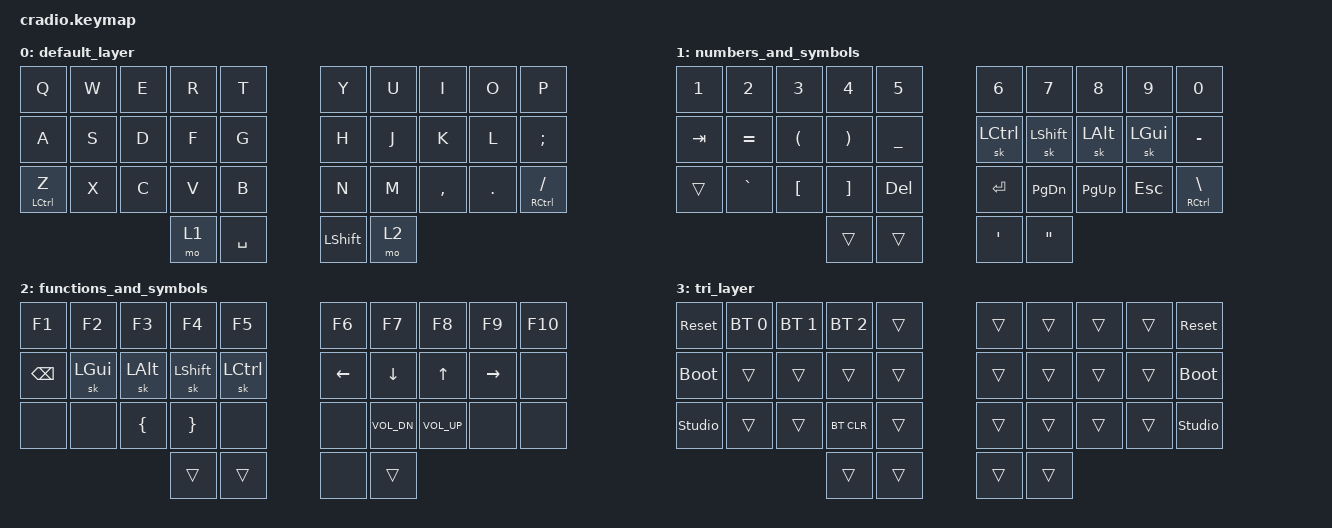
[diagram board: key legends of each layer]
// Copyright (c) 2022 The ZMK Contributors
// SPDX-License-Identifier: MIT

#include <behaviors.dtsi>
#include <dt-bindings/zmk/keys.h>
#include <dt-bindings/zmk/bt.h>

&sk {
    release-after-ms = <60000>;
    quick-release;
};

/ {
    behaviors {
        ht: hold_tap {
            compatible = "zmk,behavior-hold-tap";
            #binding-cells = <2>;
            flavor = "tap-preferred";
            tapping-term-ms = <220>;
            quick-tap-ms = <150>;
            require-prior-idle-ms = <100>;
            bindings = <&kp>, <&kp>;
        };
    };

    conditional_layers {
        compatible = "zmk,conditional-layers";
        tri_layer {
            if-layers = <1 2>;
            then-layer = <3>;
        };
    };

    keymap {
        compatible = "zmk,keymap";
        default_layer {
            bindings = <
        //╭──────────┬──────────┬──────────┬──────────┬──────────╮   ╭──────────┬──────────┬──────────┬──────────┬──────────╮
        //│  Q       │  W       │  E       │  R       │  T       │   │  Y       │  U       │  I       │  O       │  P       │
            &kp Q      &kp W      &kp E      &kp R      &kp T          &kp Y      &kp U      &kp I      &kp O      &kp P
        //├──────────┼──────────┼──────────┼──────────┼──────────┤   ├──────────┼──────────┼──────────┼──────────┼──────────┤
        //│  A       │  S       │  D       │  F       │  G       │   │  H       │  J       │  K       │  L       │ ;        │
            &kp A      &kp S      &kp D      &kp F      &kp G          &kp H      &kp J      &kp K      &kp L      &kp SEMI
        //├──────────┼──────────┼──────────┼──────────┼──────────┤   ├──────────┼──────────┼──────────┼──────────┼──────────┤
        //│  Z       │  X       │  C       │  V       │  B       │   │  N       │  M       │ , <      │ . >      │ / ?      │
           &mt LCTRL Z &kp X      &kp C      &kp V      &kp B          &kp N      &kp M      &kp COMMA  &kp DOT    &mt RCTRL FSLH
        //╰──────────┴──────────┴──────────┼──────────┼──────────┤   ├──────────┼──────────┼──────────┴──────────┴──────────╯
                                            &mo 1       &kp SPACE     &kp LSHIFT  &mo 2
        //                                 ╰──────────┴──────────╯   ╰──────────┴──────────╯
            >;
        };

        numbers_and_symbols {
            bindings = <
        //╭──────────┬──────────┬──────────┬──────────┬──────────╮   ╭──────────┬──────────┬──────────┬──────────┬──────────╮
        //│ INSERT   │  1       │  2       │  3       │          │   │ HOME     │ PAGE DN  │ PAGE UP  │ END      │  :       │
            &kp N1     &kp N2     &kp N3     &kp N4     &kp N5         &kp N6     &kp N7     &kp N8     &kp N9     &kp N0
        //├──────────┼──────────┼──────────┼──────────┼──────────┤   ├──────────┼──────────┼──────────┼──────────┼──────────┤
        //│ DELETE   │  4       │  5       │  6       │          │   │ LEFT     │ DOWN     │ UP       │ RIGHT    │  ;       │
            &kp TAB   &kp EQUAL   &kp LPAR   &kp RPAR   &kp UNDER      &sk LCTRL  &sk LSHIFT &sk LALT   &sk LGUI   &kp MINUS
        //├──────────┼──────────┼──────────┼──────────┼──────────┤   ├──────────┼──────────┼──────────┼──────────┼──────────┤
        //│ CAPS     │  7       │  8       │  9       │  0       │   │          │          │          │          │          │
           &trans     &kp GRAVE   &kp LBKT   &kp RBKT   &kp DEL        &kp ENTER  &kp PG_DN  &kp PG_UP  &kp ESC    &mt RCTRL BSLH
        //╰──────────┴──────────┴──────────┼──────────┼──────────┤   ├──────────┼──────────┼──────────┴──────────┴──────────╯
                                             &trans     &trans         &kp SQT    &kp DQT
        //                                 ╰──────────┴──────────╯   ╰──────────┴──────────╯
            >;
        };

        functions_and_symbols {
            bindings = <
        //╭──────────┬──────────┬──────────┬──────────┬──────────╮   ╭──────────┬──────────┬──────────┬──────────┬──────────╮
        //│          │  [       │  {       │  }       │          │   │  ^       │  (       │  )       │  ]       │  ~       │
            &kp F1     &kp F2     &kp F3     &kp F4     &kp F5         &kp F6     &kp F7     &kp F8     &kp F9     &kp F10
        //├──────────┼──────────┼──────────┼──────────┼──────────┤   ├──────────┼──────────┼──────────┼──────────┼──────────┤
        //│  !       │  @       │  #       │  $       │  %       │   │  *       │  -       │  =       │  \       │  `       │
            &kp BSPC   &sk LGUI   &sk LALT   &sk LSHIFT &sk LCTRL      &kp LEFT  &kp DOWN    &kp UP     &kp RIGHT  &none
        //├──────────┼──────────┼──────────┼──────────┼──────────┤   ├──────────┼──────────┼──────────┼──────────┼──────────┤
        //│          │          │          │          │          │   │  &       │  _       │  +       │  │       │          │
            &none      &none      &kp LBRC   &kp RBRC   &none          &none     &kp K_VOL_DN &kp K_VOL_UP &none   &none
        //╰──────────┴──────────┴──────────┼──────────┼──────────┤   ├──────────┼──────────┼──────────┴──────────┴──────────╯
                                             &trans     &trans         &none     &trans
        //                                 ╰──────────┴──────────╯   ╰──────────┴──────────╯
            >;
        };

        tri_layer {
            bindings = <
        //╭──────────┬──────────┬──────────┬──────────┬──────────╮   ╭──────────┬──────────┬──────────┬──────────┬──────────╮
        //│ RESET    │          │          │          │PROFILE 0 │   │          │          │          │          │  RESET   │
           &sys_reset  &bt BT_SEL 0 &bt BT_SEL 1 &bt BT_SEL 2 &trans   &trans     &trans     &trans     &trans    &sys_reset
        //├──────────┼──────────┼──────────┼──────────┼──────────┤   ├──────────┼──────────┼──────────┼──────────┼──────────┤
        //│BOOTLOADER│          │          │          │PROFILE 1 │   │          │          │          │          │BOOTLOADER│
          &bootloader  &trans     &trans     &trans    &trans          &trans     &trans     &trans     &trans    &bootloader
        //├──────────┼──────────┼──────────┼──────────┼──────────┤   ├──────────┼──────────┼──────────┼──────────┼──────────┤
        //│ Studio   │          │          │ CLEAR BT │PROFILE 2 │   │          │          │          │          │Studio    │
            &studio_unlock    &trans     &trans    &bt BT_CLR &trans          &trans     &trans     &trans     &trans     &studio_unlock
        //╰──────────┴──────────┴──────────┼──────────┼──────────┤   ├──────────┼──────────┼──────────┴──────────┴──────────╯
                                             &trans     &trans         &trans     &trans
        //                                 ╰──────────┴──────────╯   ╰──────────┴──────────╯
            >;
        };
    };
};
